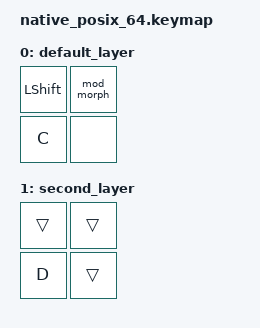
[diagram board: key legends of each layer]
#include <dt-bindings/zmk/keys.h>
#include <behaviors.dtsi>
#include <dt-bindings/zmk/kscan_mock.h>

&kscan {
    events = <
        /* Shift + hold &mod_morph --> expect and get D (no shift) */
        ZMK_MOCK_PRESS(0,0,10)
        ZMK_MOCK_PRESS(0,1,200)
        ZMK_MOCK_PRESS(1,0,10)
        ZMK_MOCK_RELEASE(1,0,10)
        ZMK_MOCK_RELEASE(0,1,10)
        ZMK_MOCK_RELEASE(0,0,10)
    >;
};

/ {
    behaviors {
        mod_morph: mod_morph {
            compatible = "zmk,behavior-mod-morph";
            label = "MOD_MORPH_TEST";
            #binding-cells = <0>;
            bindings = <&kp A>, <&lt 1 B>;
            mods = <(MOD_LSFT|MOD_RSFT)>;
        };

    };

    keymap {
        compatible = "zmk,keymap";
        label ="Default keymap";

        default_layer {
            bindings = <
                &kp LEFT_SHIFT &mod_morph
                &kp C &none
            >;
        };

        second_layer {
            bindings = <
                &trans &trans
                &kp D &trans
            >;
        };
    };
};
